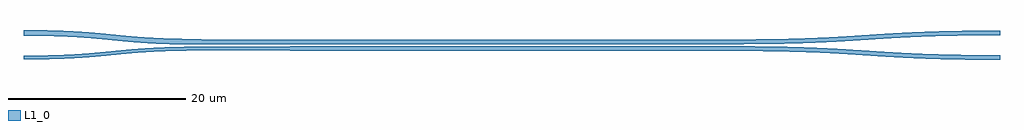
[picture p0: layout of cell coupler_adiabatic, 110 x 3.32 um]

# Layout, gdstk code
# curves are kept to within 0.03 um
from math import pi, radians
import gdstk
lib = gdstk.Library(unit=1e-6, precision=1e-09)
def R(c, l, rs):  # rectangles x0, y0, x1, y1
    for r in rs: c.add(gdstk.rectangle(r[:2], r[2:], *l))
def P(c, l, *ps):  # polygons
    for p in ps: c.add(gdstk.Polygon(p, *l))
L1_0 = (1, 0)

straight_1244316b = lib.new_cell('straight_1244316b')
R(straight_1244316b, L1_0, [(0,-0.25,50,0.25)])

coupler_straight_52e3936 = lib.new_cell('coupler_straight_52e3936f')
coupler_straight_52e3936.add(gdstk.Reference(straight_1244316b, (0,0.77)))
coupler_straight_52e3936.add(gdstk.Reference(straight_1244316b, (0,0)))

taper_width20p6 = lib.new_cell('taper_width20p6')
P(taper_width20p6, L1_0, [(0,0.25),(10,0.3),(10,-0.3),(0,-0.25)])

taper_width20p4 = lib.new_cell('taper_width20p4')
P(taper_width20p4, L1_0, [(0,0.25),(10,0.2),(10,-0.2),(0,-0.25)])

bezier_f82e1a1c = lib.new_cell('bezier_f82e1a1c')
P(bezier_f82e1a1c, L1_0, [(0,-0.3),(3.428,-0.346),(6.013,-0.461),(12.541,-1.038),(14.623,-1.176),(17.397,-1.275),(20,-1.3),(20,-0.7),(16.572,-0.654),(13.987,-0.539),(7.459,0.038),(5.377,0.176),(2.603,0.275),(0,0.3)])

bezier_c54173ba = lib.new_cell('bezier_c54173ba')
P(bezier_c54173ba, L1_0, [(0,-3.2),(2.601,-3.175),(5.172,-3.086),(7.699,-2.918),(12.011,-2.509),(14.168,-2.35),(16.685,-2.243),(20,-2.2),(20,-1.8),(17.399,-1.825),(14.828,-1.914),(12.301,-2.082),(7.989,-2.491),(5.832,-2.65),(3.315,-2.757),(0,-2.8)])

bezier_b1564312 = lib.new_cell('bezier_b1564312')
P(bezier_b1564312, L1_0, [(70,-1.25),(73.898,-1.225),(77.752,-1.136),(81.415,-0.975),(88.005,-0.559),(91.245,-0.4),(95.024,-0.293),(100,-0.25),(100,0.25),(96.102,0.225),(92.248,0.136),(88.585,-0.025),(81.995,-0.441),(78.755,-0.6),(74.976,-0.707),(70,-0.75)])

coupler_adiabatic = lib.new_cell('coupler_adiabatic')
coupler_adiabatic.add(gdstk.Reference(coupler_straight_52e3936, (0,0)))
coupler_adiabatic.add(gdstk.Reference(taper_width20p6, (0,0.77), rotation=pi))
coupler_adiabatic.add(gdstk.Reference(taper_width20p4, (0,0), rotation=pi))
coupler_adiabatic.add(gdstk.Reference(bezier_f82e1a1c, (-30,1.77)))
coupler_adiabatic.add(gdstk.Reference(bezier_c54173ba, (-30,2)))
coupler_adiabatic.add(gdstk.Reference(bezier_b1564312, (-20,1.77)))
coupler_adiabatic.add(gdstk.Reference(bezier_b1564312, (-20,-1), x_reflection=True))

lib.write_gds('coupler_adiabatic.gds')
